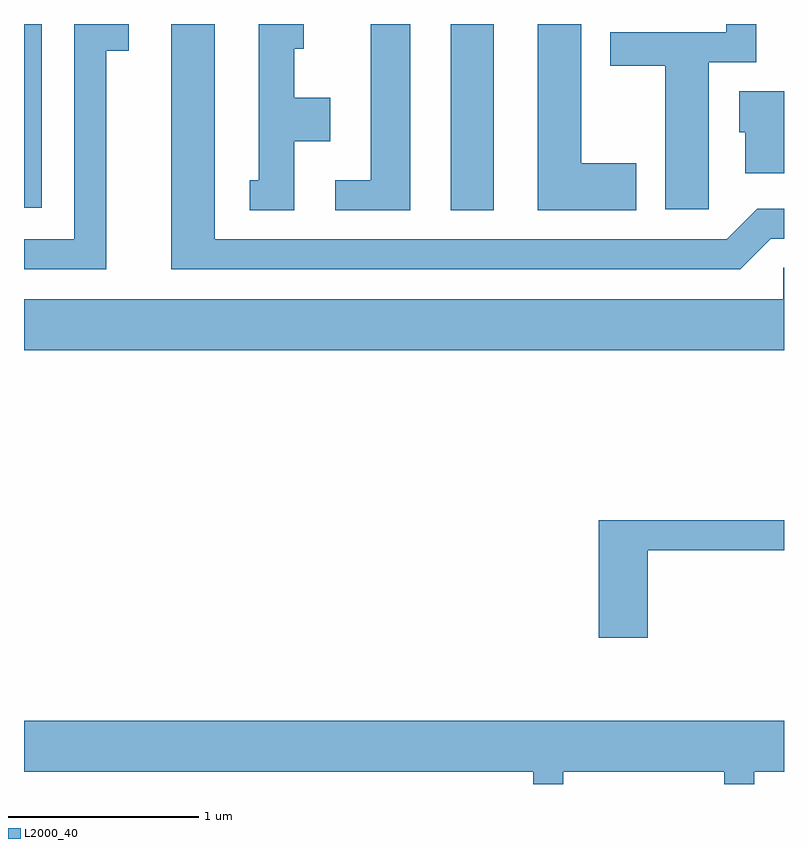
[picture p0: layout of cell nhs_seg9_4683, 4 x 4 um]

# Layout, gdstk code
import gdstk
lib = gdstk.Library(unit=1e-6, precision=1e-09)
def R(c, l, rs):  # rectangles x0, y0, x1, y1
    for r in rs: c.add(gdstk.rectangle(r[:2], r[2:], *l))
def P(c, l, *ps):  # polygons
    for p in ps: c.add(gdstk.Polygon(p, *l))
L2000_40 = (2000, 40)

nhs_seg9_4683 = lib.new_cell('nhs_seg9_4683')
R(nhs_seg9_4683, L2000_40, [(325.856,1981.451,326.084,1982.432), (323.611,1981.466,323.704,1982.432)])
P(nhs_seg9_4683, L2000_40, [(327.542,1981.301),(327.611,1981.301),(327.611,1981.459),(327.469,1981.459),(327.309,1981.299),(324.614,1981.299),(324.614,1982.432),(324.386,1982.432),(324.386,1981.141),(327.382,1981.141)],
  [(327.214,1982.231),(327.464,1982.231),(327.464,1982.432),(327.306,1982.432),(327.306,1982.389),(326.696,1982.389),(326.696,1982.211),(326.986,1982.211),(326.986,1981.456),(327.214,1981.456)],
  [(324.044,1982.291),(324.163,1982.291),(324.163,1982.432),(323.876,1982.432),(323.876,1981.299),(323.611,1981.299),(323.611,1981.141),(324.044,1981.141)],
  [(325.034,1981.816),(325.224,1981.816),(325.224,1982.044),(325.034,1982.044),(325.034,1982.301),(325.083,1982.301),(325.083,1982.432),(324.846,1982.432),(324.846,1981.609),(324.798,1981.609),(324.798,1981.451),(325.034,1981.451)],
  [(325.644,1982.432),(325.436,1982.432),(325.436,1981.609),(325.248,1981.609),(325.248,1981.451),(325.644,1981.451)],
  [(326.834,1981.699),(326.544,1981.699),(326.544,1982.432),(326.316,1982.432),(326.316,1981.451),(326.834,1981.451)],
  [(327.611,1982.079),(327.376,1982.079),(327.376,1981.861),(327.406,1981.861),(327.406,1981.646),(327.611,1981.646)],
  [(327.611,1981.149),(327.606,1981.149),(327.606,1980.984),(323.611,1980.984),(323.611,1980.716),(327.611,1980.716)],
  [(326.894,1979.661),(327.611,1979.661),(327.611,1979.819),(326.636,1979.819),(326.636,1979.201),(326.894,1979.201)],
  [(326.449,1978.496),(327.296,1978.496),(327.296,1978.432),(327.454,1978.432),(327.454,1978.496),(327.611,1978.496),(327.611,1978.764),(323.611,1978.764),(323.611,1978.496),(326.291,1978.496),(326.291,1978.432),(326.449,1978.432)])

lib.write_gds('nhs_seg9_4683.gds')
